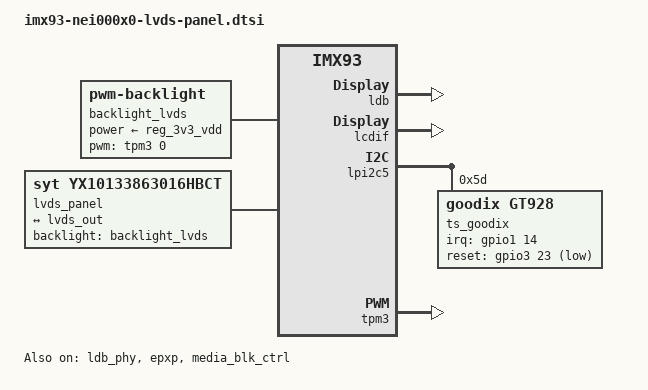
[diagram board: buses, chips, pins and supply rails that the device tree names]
// SPDX-License-Identifier: (GPL-2.0+ OR MIT)
/*
 * Copyright 2022 NXP
 */

#include <dt-bindings/pwm/pwm.h>

/ {
	backlight_lvds: backlight_lvds {
		compatible = "pwm-backlight";
		pwms = <&tpm3 0 100000 0>;
		pinctrl-names = "default";
		//pinctrl-0 = <&pinctrl_lcd_bkl_en>;
		//enable-gpios = <&adp5585gpio 8 GPIO_ACTIVE_HIGH>;
		power-supply = <&reg_3v3_vdd>;
		status = "okay";

		brightness-levels = < 0  1  2  3  4  5  6  7  8  9
					10 11 12 13 14 15 16 17 18 19
				    20 21 22 23 24 25 26 27 28 29
				    30 31 32 33 34 35 36 37 38 39
				    40 41 42 43 44 45 46 47 48 49
				    50 51 52 53 54 55 56 57 58 59
				    60 61 62 63 64 65 66 67 68 69
				    70 71 72 73 74 75 76 77 78 79
				    80 81 82 83 84 85 86 87 88 89
				    90 91 92 93 94 95 96 97 98 99
				    100	>;
		default-brightness-level = <50>;
	};

	lvds_panel {
		compatible = "syt,yx10133863016hbct";
		backlight = <&backlight_lvds>;

		port {
			panel_lvds_in: endpoint {
				remote-endpoint = <&lvds_out>;
			};
		};
	};
};

/*=====================================================*/
//=== LBD
/*=====================================================*/
&ldb {
	status = "okay";

	lvds-channel@0 {
		status = "okay";

		port@1 {
			reg = <1>;

			lvds_out: endpoint {
				remote-endpoint = <&panel_lvds_in>;
			};
		};
	};
};

&ldb_phy {
	status = "okay";
};

/*=====================================================*/
//=== EPXP
/*=====================================================*/
&epxp {
	status = "okay";
};

/*=====================================================*/
//=== MEDIA BLK CTRL
/*=====================================================*/
&media_blk_ctrl {
	status = "okay";
};

/*=====================================================*/
//=== LCDIF
/*=====================================================*/
&lcdif {
	status = "okay";
	assigned-clock-rates = <393216000>, <56173714>, <400000000>, <133333333>;
};

/*=====================================================*/
/*=== I2C                                              */
/*=====================================================*/
&lpi2c5 {
	status = "okay";

	ts_goodix: touchscreen@5d {
		compatible = "goodix,gt928";
		pinctrl-names = "default";
		pinctrl-0 = <&pinctrl_lcd_int>, <&pinctrl_lcd_res>;
		interrupts-extended = <&gpio1 14 IRQ_TYPE_LEVEL_HIGH>;
		irq-gpios = <&gpio1 14 GPIO_ACTIVE_HIGH>;
		reset-gpios = <&gpio3 23 GPIO_ACTIVE_LOW>;
		touchscreen-size-x = <1024>;
        touchscreen-size-y = <600>;
		reg = <0x5d>;
	};
};

/*=====================================================*/
/*=== PWM3                                             */
/*=====================================================*/
&tpm3 {
	status = "okay";
};




/*=====================================================*/
/*=== PINMUX                                           */
/*=====================================================*/
&iomuxc {
	pinctrl-names = "default";
	
	pinctrl_lcd_int: lcd_intgrp {
		fsl,pins = <
			MX93_PAD_SAI1_RXD0__GPIO1_IO14								0x31e
		>;
	};

	pinctrl_lcd_res: lcd_resgrp {
		fsl,pins = <
			MX93_PAD_SD3_DATA1__GPIO3_IO23								0x31e
		>;
	};

/*
	pinctrl_lcd_bkl_en: lcd_bkl_engrp {
		fsl,pins = <
			MX8MP_IOMUXC_SD1_DATA0__GPIO2_IO02                                                      0x184
		>;
	};
*/

};
